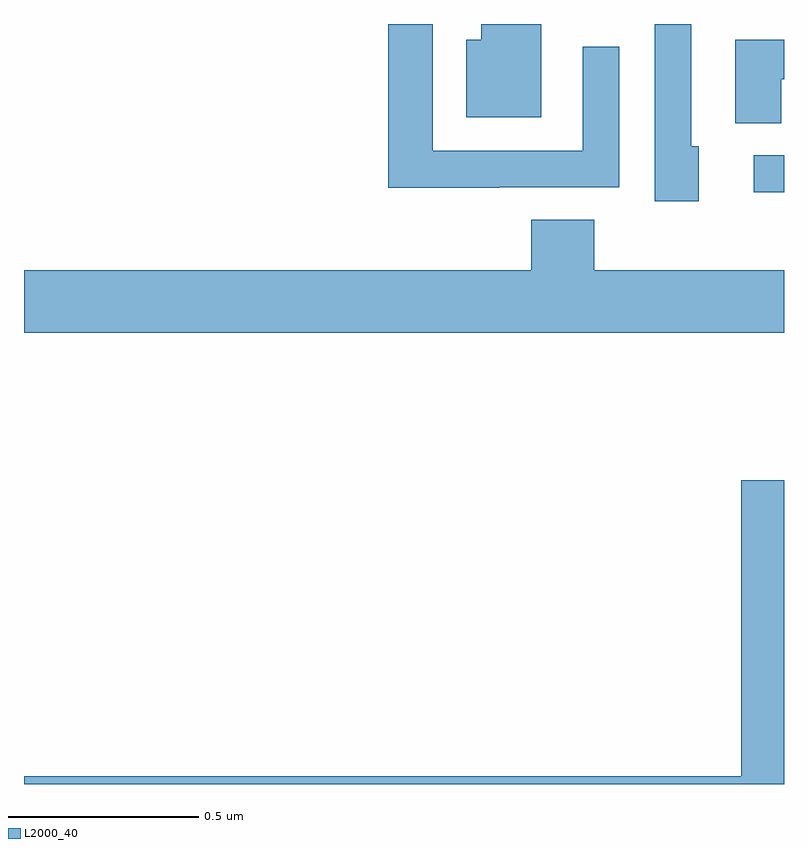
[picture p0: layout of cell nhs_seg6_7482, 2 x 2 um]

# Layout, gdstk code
import gdstk
lib = gdstk.Library(unit=1e-6, precision=1e-09)
def R(c, l, rs):  # rectangles x0, y0, x1, y1
    for r in rs: c.add(gdstk.rectangle(r[:2], r[2:], *l))
def P(c, l, *ps):  # polygons
    for p in ps: c.add(gdstk.Polygon(p, *l))
L2000_40 = (2000, 40)

nhs_seg6_7482 = lib.new_cell('nhs_seg6_7482')
R(nhs_seg6_7482, L2000_40, [(210.921,929.057,211,929.154)])
P(nhs_seg6_7482, L2000_40, [(210.775,929.178),(210.756,929.178),(210.756,929.5),(210.66,929.5),(210.66,929.034),(210.775,929.034)],
  [(210.361,929.5),(210.203,929.5),(210.203,929.458),(210.164,929.458),(210.164,929.255),(210.361,929.255)],
  [(210.251,929.07),(210.567,929.07),(210.567,929.44),(210.471,929.44),(210.471,929.166),(210.075,929.166),(210.075,929.5),(209.959,929.5),(209.959,929.069),(210.251,929.069)],
  [(210.993,929.354),(211,929.354),(211,929.458),(210.872,929.458),(210.872,929.239),(210.993,929.239)],
  [(211,928.852),(210.5,928.852),(210.5,928.985),(210.335,928.985),(210.335,928.852),(209,928.852),(209,928.688),(211,928.688)],
  [(211,928.3),(210.887,928.3),(210.887,927.52),(209,927.52),(209,927.5),(211,927.5)])

lib.write_gds('nhs_seg6_7482.gds')
